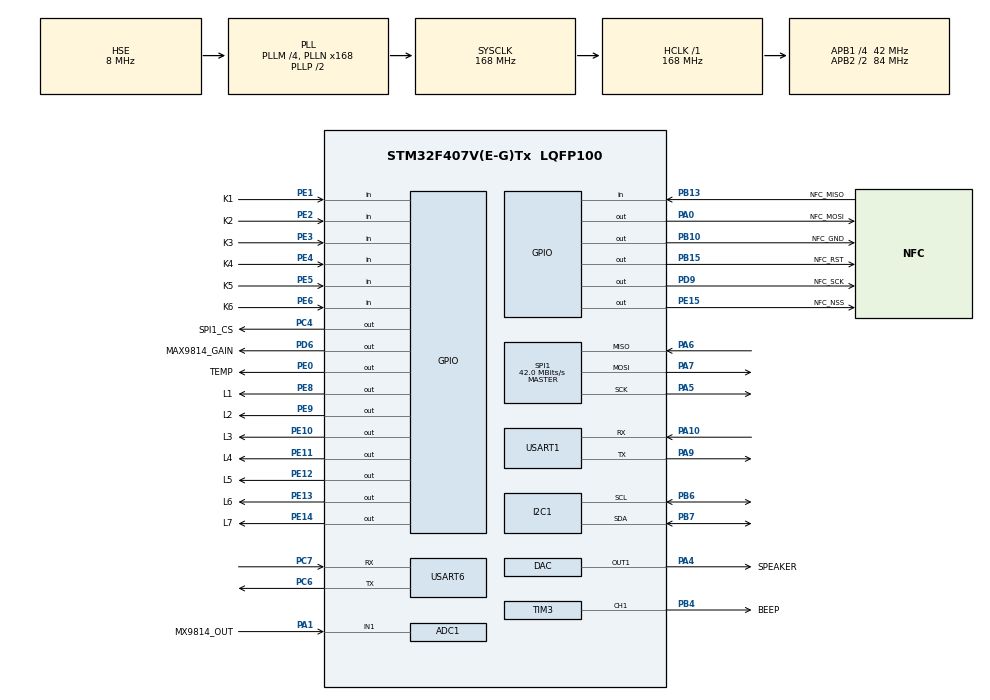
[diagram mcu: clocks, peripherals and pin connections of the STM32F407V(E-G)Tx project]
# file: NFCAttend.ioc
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ADC1.Channel-1\#ChannelRegularConversion=ADC_CHANNEL_1
ADC1.ContinuousConvMode=ENABLE
ADC1.DMAContinuousRequests=ENABLE
ADC1.ExternalTrigConv=ADC_EXTERNALTRIGCONV_T2_TRGO
ADC1.NbrOfConversion=1
ADC1.NbrOfConversionFlag=1
ADC1.Rank-1\#ChannelRegularConversion=1
ADC1.SamplingTime-1\#ChannelRegularConversion=ADC_SAMPLETIME_480CYCLES
ADC1.master=1
DAC.DAC_Trigger=DAC_TRIGGER_T2_TRGO
Dma.ADC1.0.Direction=DMA_PERIPH_TO_MEMORY
Dma.ADC1.0.FIFOMode=DMA_FIFOMODE_DISABLE
Dma.ADC1.0.Instance=DMA2_Stream0
Dma.ADC1.0.MemDataAlignment=DMA_MDATAALIGN_HALFWORD
Dma.ADC1.0.MemInc=DMA_MINC_ENABLE
Dma.ADC1.0.Mode=DMA_CIRCULAR
Dma.ADC1.0.PeriphDataAlignment=DMA_PDATAALIGN_HALFWORD
Dma.ADC1.0.PeriphInc=DMA_PINC_DISABLE
Dma.ADC1.0.Priority=DMA_PRIORITY_LOW
Dma.DAC1.1.Direction=DMA_MEMORY_TO_PERIPH
Dma.DAC1.1.FIFOMode=DMA_FIFOMODE_DISABLE
Dma.DAC1.1.Instance=DMA1_Stream5
Dma.DAC1.1.MemDataAlignment=DMA_MDATAALIGN_HALFWORD
Dma.DAC1.1.MemInc=DMA_MINC_ENABLE
Dma.DAC1.1.Mode=DMA_NORMAL
Dma.DAC1.1.PeriphDataAlignment=DMA_PDATAALIGN_HALFWORD
Dma.DAC1.1.PeriphInc=DMA_PINC_DISABLE
Dma.DAC1.1.Priority=DMA_PRIORITY_LOW
Dma.Request0=ADC1
Dma.Request1=DAC1
Dma.Request2=USART1_RX
Dma.Request3=USART1_TX
Dma.Request4=USART6_RX
Dma.Request5=USART6_TX
Dma.USART1_RX.2.Direction=DMA_PERIPH_TO_MEMORY
Dma.USART1_RX.2.FIFOMode=DMA_FIFOMODE_DISABLE
Dma.USART1_RX.2.Instance=DMA2_Stream2
Dma.USART1_RX.2.MemDataAlignment=DMA_MDATAALIGN_BYTE
Dma.USART1_RX.2.MemInc=DMA_MINC_ENABLE
Dma.USART1_RX.2.Mode=DMA_NORMAL
Dma.USART1_RX.2.PeriphDataAlignment=DMA_PDATAALIGN_BYTE
Dma.USART1_RX.2.PeriphInc=DMA_PINC_DISABLE
Dma.USART1_RX.2.Priority=DMA_PRIORITY_LOW
Dma.USART1_TX.3.Direction=DMA_MEMORY_TO_PERIPH
Dma.USART1_TX.3.FIFOMode=DMA_FIFOMODE_DISABLE
Dma.USART1_TX.3.Instance=DMA2_Stream7
Dma.USART1_TX.3.MemDataAlignment=DMA_MDATAALIGN_BYTE
Dma.USART1_TX.3.MemInc=DMA_MINC_ENABLE
Dma.USART1_TX.3.Mode=DMA_NORMAL
Dma.USART1_TX.3.PeriphDataAlignment=DMA_PDATAALIGN_BYTE
Dma.USART1_TX.3.PeriphInc=DMA_PINC_DISABLE
Dma.USART1_TX.3.Priority=DMA_PRIORITY_LOW
Dma.USART6_RX.4.Direction=DMA_PERIPH_TO_MEMORY
Dma.USART6_RX.4.FIFOMode=DMA_FIFOMODE_DISABLE
Dma.USART6_RX.4.Instance=DMA2_Stream1
Dma.USART6_RX.4.MemDataAlignment=DMA_MDATAALIGN_BYTE
Dma.USART6_RX.4.MemInc=DMA_MINC_ENABLE
Dma.USART6_RX.4.Mode=DMA_NORMAL
Dma.USART6_RX.4.PeriphDataAlignment=DMA_PDATAALIGN_BYTE
Dma.USART6_RX.4.PeriphInc=DMA_PINC_DISABLE
Dma.USART6_RX.4.Priority=DMA_PRIORITY_LOW
Dma.USART6_TX.5.Direction=DMA_MEMORY_TO_PERIPH
Dma.USART6_TX.5.FIFOMode=DMA_FIFOMODE_DISABLE
Dma.USART6_TX.5.Instance=DMA2_Stream6
Dma.USART6_TX.5.MemDataAlignment=DMA_MDATAALIGN_BYTE
Dma.USART6_TX.5.MemInc=DMA_MINC_ENABLE
Dma.USART6_TX.5.Mode=DMA_NORMAL
Dma.USART6_TX.5.PeriphDataAlignment=DMA_PDATAALIGN_BYTE
Dma.USART6_TX.5.PeriphInc=DMA_PINC_DISABLE
Dma.USART6_TX.5.Priority=DMA_PRIORITY_LOW
FREERTOS.Queues01=myQueue01,8,512,1,Dynamic,NULL,NULL;myQueue04,4,1024,1,Dynamic,NULL,NULL
FREERTOS.Queues02=myQueue05,8,64,1,Dynamic,NULL,NULL
FREERTOS.Tasks01=defaultTask,24,512,StartDefaultTask,Default,NULL,Dynamic,NULL,NULL;guiTask,16,1024,StartTaskGui,Default,NULL,Dynamic,NULL,NULL;keyTask,24,512,StartTaskKey,Default,NULL,Dynamic,NULL,NULL;uartTask,24,1536,StartTaskUart,Default,NULL,Dynamic,NULL,NULL;otherTask,16,768,StartTaskOther,Default,NULL,Dynamic,NULL,NULL;nfcTask,24,768,StartTaskNFC,Default,NULL,Dynamic,NULL,NULL
FREERTOS.configTOTAL_HEAP_SIZE=49152
I2C1.I2C_Mode=I2C_Fast
Mcu.Family=STM32F4
Mcu.Name=STM32F407V(E-G)Tx
Mcu.Package=LQFP100
NVIC.DMA1_Stream5_IRQn=true\:5\:0\:false\:false\:true\:true\:false\:true\:true
NVIC.DMA2_Stream0_IRQn=true\:5\:0\:false\:false\:true\:true\:false\:true\:true
NVIC.DMA2_Stream1_IRQn=true\:5\:0\:false\:false\:true\:true\:false\:true\:true
NVIC.DMA2_Stream2_IRQn=true\:5\:0\:false\:false\:true\:true\:false\:true\:true
NVIC.DMA2_Stream6_IRQn=true\:5\:0\:false\:false\:true\:true\:false\:true\:true
NVIC.DMA2_Stream7_IRQn=true\:5\:0\:false\:false\:true\:true\:false\:true\:true
NVIC.PriorityGroup=NVIC_PRIORITYGROUP_4
NVIC.TIM3_IRQn=true\:5\:0\:false\:false\:true\:true\:true\:true\:true
NVIC.TIM7_IRQn=true\:15\:0\:false\:false\:true\:false\:false\:true\:true
NVIC.TIM8_UP_TIM13_IRQn=true\:5\:0\:false\:false\:true\:true\:true\:true\:true
NVIC.TimeBase=TIM7_IRQn
NVIC.TimeBaseIP=TIM7
NVIC.USART1_IRQn=true\:5\:0\:false\:false\:true\:true\:true\:true\:true
NVIC.USART6_IRQn=true\:5\:0\:false\:false\:true\:true\:true\:true\:true
PA0-WKUP.GPIO_Label=NFC_MOSI
PA0-WKUP.Signal=GPIO_Output
PA1.GPIO_Label=MX9814_OUT
PA1.Signal=ADCx_IN1
PA10.Mode=Asynchronous
PA10.Signal=USART1_RX
PA13.Mode=Serial_Wire
PA13.Signal=SYS_JTMS-SWDIO
PA14.Mode=Serial_Wire
PA14.Signal=SYS_JTCK-SWCLK
PA4.GPIO_Label=SPEAKER
PA4.Signal=COMP_DAC1_group
PA5.Mode=Full_Duplex_Master
PA5.Signal=SPI1_SCK
PA6.Mode=Full_Duplex_Master
PA6.Signal=SPI1_MISO
PA7.Mode=Full_Duplex_Master
PA7.Signal=SPI1_MOSI
PA9.Mode=Asynchronous
PA9.Signal=USART1_TX
PB10.GPIO_Label=NFC_GND
PB10.Signal=GPIO_Output
PB13.GPIO_Label=NFC_MISO
PB13.Signal=GPIO_Input
PB15.GPIO_Label=NFC_RST
PB15.Signal=GPIO_Output
PB4.GPIO_Label=BEEP
PB4.Signal=S_TIM3_CH1
PB6.Mode=I2C
PB6.Signal=I2C1_SCL
PB7.Mode=I2C
PB7.Signal=I2C1_SDA
PC14-OSC32_IN.Mode=LSE-External-Oscillator
PC14-OSC32_IN.Signal=RCC_OSC32_IN
PC15-OSC32_OUT.Mode=LSE-External-Oscillator
PC15-OSC32_OUT.Signal=RCC_OSC32_OUT
PC4.GPIO_Label=SPI1_CS
PC4.Signal=GPIO_Output
PC6.Mode=Asynchronous
PC6.Signal=USART6_TX
PC7.Mode=Asynchronous
PC7.Signal=USART6_RX
PD6.GPIO_Label=MAX9814_GAIN
PD6.Signal=GPIO_Output
PD9.GPIO_Label=NFC_SCK
PD9.Signal=GPIO_Output
PE0.GPIO_Label=TEMP
PE0.Signal=GPIO_Output
PE1.GPIO_Label=K1
PE1.GPIO_Mode=GPIO_MODE_INPUT
PE1.GPIO_PuPd=GPIO_PULLUP
PE1.Signal=GPIO_Input
PE10.GPIO_Label=L3
PE10.PinState=GPIO_PIN_SET
PE10.Signal=GPIO_Output
PE11.GPIO_Label=L4
PE11.PinState=GPIO_PIN_SET
PE11.Signal=GPIO_Output
PE12.GPIO_Label=L5
PE12.PinState=GPIO_PIN_SET
PE12.Signal=GPIO_Output
PE13.GPIO_Label=L6
PE13.PinState=GPIO_PIN_SET
PE13.Signal=GPIO_Output
PE14.GPIO_Label=L7
PE14.PinState=GPIO_PIN_SET
PE14.Signal=GPIO_Output
PE15.GPIO_Label=NFC_NSS
PE15.Signal=GPIO_Output
PE2.GPIO_Label=K2
PE2.GPIO_Mode=GPIO_MODE_INPUT
PE2.GPIO_PuPd=GPIO_PULLUP
PE2.Signal=GPIO_Input
PE3.GPIO_Label=K3
PE3.GPIO_Mode=GPIO_MODE_INPUT
PE3.GPIO_PuPd=GPIO_PULLUP
PE3.Signal=GPIO_Input
PE4.GPIO_Label=K4
PE4.GPIO_Mode=GPIO_MODE_INPUT
PE4.GPIO_PuPd=GPIO_PULLUP
PE4.Signal=GPIO_Input
PE5.GPIO_Label=K5
PE5.GPIO_Mode=GPIO_MODE_INPUT
PE5.GPIO_PuPd=GPIO_PULLDOWN
PE5.Signal=GPIO_Input
PE6.GPIO_Label=K6
PE6.GPIO_Mode=GPIO_MODE_INPUT
PE6.GPIO_PuPd=GPIO_PULLDOWN
PE6.Signal=GPIO_Input
PE8.GPIO_Label=L1
PE8.PinState=GPIO_PIN_SET
PE8.Signal=GPIO_Output
PE9.GPIO_Label=L2
PE9.PinState=GPIO_PIN_SET
PE9.Signal=GPIO_Output
PH0-OSC_IN.Mode=HSE-External-Oscillator
PH0-OSC_IN.Signal=RCC_OSC_IN
PH1-OSC_OUT.Mode=HSE-External-Oscillator
PH1-OSC_OUT.Signal=RCC_OSC_OUT
ProjectManager.HeapSize=0x200
ProjectManager.StackSize=0x400
ProjectManager.TargetToolchain=Makefile
RCC.48MHZClocksFreq_Value=48000000
RCC.AHBFreq_Value=168000000
RCC.APB1CLKDivider=RCC_HCLK_DIV4
RCC.APB1Freq_Value=42000000
RCC.APB1TimFreq_Value=84000000
RCC.APB2CLKDivider=RCC_HCLK_DIV2
RCC.APB2Freq_Value=84000000
RCC.APB2TimFreq_Value=168000000
RCC.CortexFreq_Value=168000000
RCC.HCLKFreq_Value=168000000
RCC.HSE_VALUE=8000000
RCC.HSI_VALUE=16000000
RCC.PLLM=4
RCC.PLLN=168
RCC.PLLQ=7
RCC.PLLSourceVirtual=RCC_PLLSOURCE_HSE
RCC.RCC_RTC_Clock_Source=RCC_RTCCLKSOURCE_LSE
RCC.RCC_RTC_Clock_SourceVirtual=RCC_RTCCLKSOURCE_LSE
RCC.SYSCLKFreq_VALUE=168000000
RCC.SYSCLKSource=RCC_SYSCLKSOURCE_PLLCLK
RCC.VCOOutputFreq_Value=336000000
RTC.Alarm=RTC_ALARM_A
SH.ADCx_IN1.0=ADC1_IN1,IN1
SH.COMP_DAC1_group.0=DAC_OUT1,DAC_OUT1
SH.S_TIM3_CH1.0=TIM3_CH1,PWM Generation1 CH1
SPI1.CalculateBaudRate=42.0 MBits/s
SPI1.Direction=SPI_DIRECTION_2LINES
SPI1.Mode=SPI_MODE_MASTER
SPI1.VirtualType=VM_MASTER
TIM2.AutoReloadPreload=TIM_AUTORELOAD_PRELOAD_ENABLE
TIM2.Period=125-1
TIM2.Prescaler=84-1
TIM2.TIM_MasterOutputTrigger=TIM_TRGO_UPDATE
TIM3.AutoReloadPreload=TIM_AUTORELOAD_PRELOAD_ENABLE
TIM3.Channel-PWM\ Generation1\ CH1=TIM_CHANNEL_1
TIM3.Period=1000-1
TIM3.Prescaler=84-1
TIM3.Pulse-PWM\ Generation1\ CH1=500
TIM8.AutoReloadPreload=TIM_AUTORELOAD_PRELOAD_ENABLE
TIM8.Period=100-1
TIM8.Prescaler=168-1
USART1.VirtualMode=VM_ASYNC
USART6.VirtualMode=VM_ASYNC
VP_FREERTOS_VS_CMSIS_V2.Mode=CMSIS_V2
VP_RTC_VS_RTC_Activate.Mode=RTC_Enabled
VP_RTC_VS_RTC_Alarm_A_Intern.Mode=Alarm A
VP_RTC_VS_RTC_Calendar.Mode=RTC_Calendar
VP_SYS_VS_tim7.Mode=TIM7
VP_TIM2_VS_ClockSourceINT.Mode=Internal
VP_TIM3_VS_ClockSourceINT.Mode=Internal
VP_TIM8_VS_ClockSourceINT.Mode=Internal
board=custom

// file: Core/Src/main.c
/* USER CODE BEGIN Header */
/**
  ******************************************************************************
  * @file           : main.c
  * @brief          : Main program body
  ******************************************************************************
  * @attention
  *
  * Copyright (c) 2026 STMicroelectronics.
  * All rights reserved.
  *
  * This software is licensed under terms that can be found in the LICENSE file
  * in the root directory of this software component.
  * If no LICENSE file comes with this software, it is provided AS-IS.
  *
  ******************************************************************************
  */
/* USER CODE END Header */
#include "main.h"
#include "cmsis_os.h"
#include "adc.h"
#include "dac.h"
#include "dma.h"
#include "i2c.h"
#include "rtc.h"
#include "spi.h"
#include "tim.h"
#include "usart.h"
#include "gpio.h"

/* USER CODE BEGIN Includes */
#include "midi.h"
/* USER CODE END Includes */

void SystemClock_Config(void);
void MX_FREERTOS_Init(void);

int main(void)
{

  /* MCU Configuration--------------------------------------------------------*/

  /* Reset of all peripherals, Initializes the Flash interface and the Systick. */
  HAL_Init();

  /* Configure the system clock */
  SystemClock_Config();

  /* Initialize all configured peripherals */
  MX_GPIO_Init();
  MX_DMA_Init();
  MX_ADC1_Init();
  MX_DAC_Init();
  MX_I2C1_Init();
  MX_RTC_Init();
  MX_SPI1_Init();
  MX_TIM2_Init();
  MX_TIM3_Init();
  MX_USART6_UART_Init();
  MX_USART1_UART_Init();
  MX_TIM8_Init();

  /* Init scheduler */
  osKernelInitialize();  /* Call init function for freertos objects (in cmsis_os2.c) */
  MX_FREERTOS_Init();

  /* Start scheduler */
  osKernelStart();

  /* We should never get here as control is now taken by the scheduler */

  /* Infinite loop */
  while (1)
  {

  }
}

void SystemClock_Config(void)
{
  RCC_OscInitTypeDef RCC_OscInitStruct = {0};
  RCC_ClkInitTypeDef RCC_ClkInitStruct = {0};

  /** Configure the main internal regulator output voltage
  */
  __HAL_RCC_PWR_CLK_ENABLE();
  __HAL_PWR_VOLTAGESCALING_CONFIG(PWR_REGULATOR_VOLTAGE_SCALE1);

  /** Initializes the RCC Oscillators according to the specified parameters
  * in the RCC_OscInitTypeDef structure.
  */
  RCC_OscInitStruct.OscillatorType = RCC_OSCILLATORTYPE_HSE|RCC_OSCILLATORTYPE_LSE;
  RCC_OscInitStruct.HSEState = RCC_HSE_ON;
  RCC_OscInitStruct.LSEState = RCC_LSE_ON;
  RCC_OscInitStruct.PLL.PLLState = RCC_PLL_ON;
  RCC_OscInitStruct.PLL.PLLSource = RCC_PLLSOURCE_HSE;
  RCC_OscInitStruct.PLL.PLLM = 4;
  RCC_OscInitStruct.PLL.PLLN = 168;
  RCC_OscInitStruct.PLL.PLLP = RCC_PLLP_DIV2;
  RCC_OscInitStruct.PLL.PLLQ = 7;
  if (HAL_RCC_OscConfig(&RCC_OscInitStruct) != HAL_OK)
  {
    Error_Handler();
  }

  /** Initializes the CPU, AHB and APB buses clocks
  */
  RCC_ClkInitStruct.ClockType = RCC_CLOCKTYPE_HCLK|RCC_CLOCKTYPE_SYSCLK
                              |RCC_CLOCKTYPE_PCLK1|RCC_CLOCKTYPE_PCLK2;
  RCC_ClkInitStruct.SYSCLKSource = RCC_SYSCLKSOURCE_PLLCLK;
  RCC_ClkInitStruct.AHBCLKDivider = RCC_SYSCLK_DIV1;
  RCC_ClkInitStruct.APB1CLKDivider = RCC_HCLK_DIV4;
  RCC_ClkInitStruct.APB2CLKDivider = RCC_HCLK_DIV2;

  if (HAL_RCC_ClockConfig(&RCC_ClkInitStruct, FLASH_LATENCY_5) != HAL_OK)
  {
    Error_Handler();
  }
}

void HAL_TIM_PeriodElapsedCallback(TIM_HandleTypeDef *htim)
{
  if (htim->Instance == TIM7)
  {
    HAL_IncTick();
  }
  /* USER CODE BEGIN Callback 1 */
  MIDI_TimerCallback(htim);  /* MIDI ������: �������� */
  /* USER CODE END Callback 1 */
}

void Error_Handler(void)
{
  __disable_irq();
  while (1)
  {
  }
}

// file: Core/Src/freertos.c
/* USER CODE BEGIN Header */
/**
  ******************************************************************************
  * File Name          : freertos.c
  * Description        : Code for freertos applications
  ******************************************************************************
  * @attention
  *
  * Copyright (c) 2026 STMicroelectronics.
  * All rights reserved.
  *
  * This software is licensed under terms that can be found in the LICENSE file
  * in the root directory of this software component.
  * If no LICENSE file comes with this software, it is provided AS-IS.
  *
  ******************************************************************************
  */
/* USER CODE END Header */

#include "FreeRTOS.h"
#include "task.h"
#include "main.h"
#include "cmsis_os.h"

/* USER CODE BEGIN Includes */
#include "usart.h"
#include "uart_drv.h"
#include "ds18B20.h"
#include "led.h"
#include "key.h"
#include "ssd1306.h"
#include "midi.h"
#include "esp01s.h"
#include "w25qxx.h"
#include "rc522.h"
#include "delay_us.h"
#include "bsp_rtc.h"
#include "display.h"
#include "tim.h"
#include "NFC.h"
#include "esp01s.h"
#include "rtc.h"
#include <stdio.h>
#include <string.h>

/* 锟斤拷知锟斤拷锟斤拷 API Key (锟斤拷锟阶?锟斤拷: https://www.seniverse.com) */
#define WEATHER_API_KEY  "SX5O_Nv09Ap1egenj"
#define WEATHER_CITY     "hangzhou"
#define WEATHER_LANG     "zh-Hans"
#define WEATHER_UNIT     "c"
/* USER CODE END Includes */

/* USER CODE BEGIN PD */
#define HEARTBEAT_INTERVAL_MS      5000U    /* 锟斤拷锟斤拷锟斤拷锟酵硷拷锟? (ms) */
#define WEATHER_UPDATE_INTERVAL_MS 3600000U /* 锟斤拷锟斤拷刷锟铰硷拷锟? (ms, 1h) */
/* USER CODE END PD */

/* USER CODE BEGIN Variables */
UartDrv_t g_uart1Drv;
UartDrv_t g_uart6Drv;

/* LED 锟斤拷锟斤拷: L1~L7 (PE8~PE14), 锟斤拷锟斤拷锟斤拷, 锟酵碉拷平锟斤拷锟斤拷 */
static const Led_Config_t s_ledConfigs[] = {
    {GPIOE, L1_Pin, LED_ON_LOW},
    {GPIOE, L2_Pin, LED_ON_LOW},
    {GPIOE, L3_Pin, LED_ON_LOW},
    {GPIOE, L4_Pin, LED_ON_LOW},
    {GPIOE, L5_Pin, LED_ON_LOW},
    {GPIOE, L6_Pin, LED_ON_LOW},
    {GPIOE, L7_Pin, LED_ON_LOW},
};

/* 锟斤拷锟斤拷锟斤拷锟斤拷: K1~K4 锟斤拷锟斤拷锟斤拷锟斤拷(锟酵碉拷平锟斤拷效), K5~K6 锟斤拷锟斤拷锟斤拷锟斤拷(锟竭碉拷平锟斤拷效) */
static const Key_Config_t s_keyConfigs[] = {
    {GPIOE, K1_Pin, KEY_ACTIVE_LOW},
    {GPIOE, K2_Pin, KEY_ACTIVE_LOW},
    {GPIOE, K3_Pin, KEY_ACTIVE_LOW},
    {GPIOE, K4_Pin, KEY_ACTIVE_LOW},
    {GPIOE, K5_Pin, KEY_ACTIVE_HIGH},
    {GPIOE, K6_Pin, KEY_ACTIVE_HIGH},
};

/* USART1 锟斤拷锟斤拷双锟斤拷锟斤拷 (锟截碉拷写锟斤拷 锟斤拷 uartTask 锟斤拷锟斤拷, 锟劫斤拷锟斤拷锟斤拷锟斤拷) */
static uint8_t  s_uart1_rx_buf[512];
static uint8_t  s_uart1_proc_buf[512];
static volatile uint16_t s_uart1_rx_len = 0;
static volatile uint8_t  s_uart1_data_ready = 0;

/* USART1 锟斤拷锟秸回碉拷锟斤拷锟斤拷 */
static void UART1_RxCallback(UartDrv_RxData_t *pData, void *pUserCtx);
/* USER CODE END Variables */
/* Definitions for defaultTask */
osThreadId_t defaultTaskHandle;
const osThreadAttr_t defaultTask_attributes = {
  .name = "defaultTask",
  .stack_size = 512 * 4,
  .priority = (osPriority_t) osPriorityNormal,
};
/* Definitions for guiTask */
osThreadId_t guiTaskHandle;
const osThreadAttr_t guiTask_attributes = {
  .name = "guiTask",
  .stack_size = 1024 * 4,
  .priority = (osPriority_t) osPriorityBelowNormal,
};
/* Definitions for keyTask */
osThreadId_t keyTaskHandle;
const osThreadAttr_t keyTask_attributes = {
  .name = "keyTask",
  .stack_size = 512 * 4,
  .priority = (osPriority_t) osPriorityNormal,
};
/* Definitions for uartTask */
osThreadId_t uartTaskHandle;
const osThreadAttr_t uartTask_attributes = {
  .name = "uartTask",
  .stack_size = 1536 * 4,
  .priority = (osPriority_t) osPriorityNormal,
};
/* Definitions for otherTask */
osThreadId_t otherTaskHandle;
const osThreadAttr_t otherTask_attributes = {
  .name = "otherTask",
  .stack_size = 768 * 4,
  .priority = (osPriority_t) osPriorityBelowNormal,
};
/* Definitions for nfcTask */
osThreadId_t nfcTaskHandle;
const osThreadAttr_t nfcTask_attributes = {
  .name = "nfcTask",
  .stack_size = 768 * 4,
  .priority = (osPriority_t) osPriorityNormal,
};
/* Definitions for myQueue01 */
osMessageQueueId_t myQueue01Handle;
const osMessageQueueAttr_t myQueue01_attributes = {
  .name = "myQueue01"
};
/* Definitions for myQueue04 */
osMessageQueueId_t myQueue04Handle;
const osMessageQueueAttr_t myQueue04_attributes = {
  .name = "myQueue04"
};

void StartDefaultTask(void *argument);
void StartTaskGui(void *argument);
void StartTaskKey(void *argument);
void StartTaskUart(void *argument);
void StartTaskOther(void *argument);
void StartTaskNFC(void *argument);

void MX_FREERTOS_Init(void); /* (MISRA C 2004 rule 8.1) */

void MX_FREERTOS_Init(void) {

  /* Create the queue(s) */
  /* creation of myQueue01 */
  myQueue01Handle = osMessageQueueNew (8, DISP_WEATHER_LINE_LEN, &myQueue01_attributes);

  /* creation of myQueue04 */
  myQueue04Handle = osMessageQueueNew (4, 1024, &myQueue04_attributes);

  /* Create the thread(s) */
  /* creation of defaultTask */
  defaultTaskHandle = osThreadNew(StartDefaultTask, NULL, &defaultTask_attributes);

  /* creation of guiTask */
  guiTaskHandle = osThreadNew(StartTaskGui, NULL, &guiTask_attributes);

  /* creation of keyTask */
  keyTaskHandle = osThreadNew(StartTaskKey, NULL, &keyTask_attributes);

  /* creation of uartTask */
  uartTaskHandle = osThreadNew(StartTaskUart, NULL, &uartTask_attributes);

  /* creation of otherTask */
  otherTaskHandle = osThreadNew(StartTaskOther, NULL, &otherTask_attributes);

  /* creation of nfcTask */
  nfcTaskHandle = osThreadNew(StartTaskNFC, NULL, &nfcTask_attributes);

}

void StartDefaultTask(void *argument)
{
  /* USER CODE BEGIN StartDefaultTask */

  /* Apply I2C clock config to match DISP_I2C_TARGET_HZ */
  DISP_ApplyI2CConfig();

  /* --- BSP 锟斤拷锟斤拷锟斤拷始锟斤拷 --- */

  /* 1. OLED + GUI 锟斤拷锟饺筹拷始锟斤拷, 锟皆憋拷锟斤拷示锟斤拷始锟斤拷锟斤拷锟斤拷 */
  GUI_Init();
  GUI_Clear();
  GUI_Update();

  /* 2. DS18B20 锟铰度达拷锟斤拷锟斤拷 (锟节诧拷锟斤拷锟斤拷 delay_us_init) */
  DISP_ShowInitMsg("Init DS18B20...");
  ds18b20_init();

  /* 3. 锟斤拷锟斤拷锟斤拷锟斤拷 (USART1 锟斤拷 锟斤拷锟斤拷锟斤拷锟?, USART6 锟斤拷 ESP01S) */
  UartDrv_Init(&g_uart1Drv, &huart1);
  UartDrv_SetDebugPort(&g_uart1Drv);
  UartDrv_RegisterRxCb(&g_uart1Drv, UART1_RxCallback, NULL);
  UartDrv_StartRecv(&g_uart1Drv);
  UartDrv_Init(&g_uart6Drv, &huart6);
  UartDrv_StartRecv(&g_uart6Drv);

  /* 4. LED 锟斤拷锟斤拷 (L1~L7) */
  LED_Init(s_ledConfigs, GUI_COUNTOF(s_ledConfigs));

  /* 5. 锟斤拷锟斤拷锟斤拷锟斤拷 (K1~K6) */
  Key_Init(s_keyConfigs, GUI_COUNTOF(s_keyConfigs));

  DISP_ShowInitMsg("Init MIDI...");
  /* 6. MIDI 锟斤拷锟斤拷锟斤拷 (TIM3 CH1 锟斤拷 PB4) */
  MIDI_Init(&htim3, TIM_CHANNEL_1);

  DISP_ShowInitMsg("Init Flash...");
  /* 7. W25Qxx SPI Flash (SPI1) */
  W25QXX_Init();
  /* 锟斤拷锟斤拷系统锟斤拷锟斤拷 + 锟斤拷始锟斤拷锟斤拷录锟斤拷 + 锟斤拷锟斤拷锟斤拷 */
  Config_Load();
  Record_Init();
  Blacklist_Init();

  DISP_ShowInitMsg("Init NFC...");
  /* 8. RC522 NFC (GPIO 模锟斤拷 SPI, 锟节诧拷锟斤拷锟斤拷 delay_us_init 锟捷等帮拷全) */
  RC522_Platform_Init();
  RC522_ConfigISOType('A');  /* 锟斤拷锟斤拷 ISO14443A 锟斤拷锟斤拷锟斤拷锟斤拷锟斤拷 */

  DISP_ShowInitMsg("Init WiFi...");
  /* 9. ESP01S WiFi 模锟斤拷 (锟节诧拷锟皆讹拷注锟斤拷 UartDrv 锟截碉拷) */
  ESP01S_Init(&g_uart6Drv);

  DISP_ShowInitMsg("Init RTC...");
  /* 10. RTC 锟阶达拷锟较碉拷锟绞硷拷锟斤拷锟? MX_RTC_Init() 通锟斤拷锟斤拷锟捷寄达拷锟斤拷锟叫讹拷锟斤拷锟? */

  DISP_ShowInitMsg("Init Done");
  osDelay(300);

  /* --- LOGO 2s --- */
  DISP_ShowLogo();

  /* --- 锟斤拷息页 2s --- */
  DISP_ShowInfoPage();

  /* 通知 guiTask 锟斤拷 networkTask 锟斤拷锟斤拷锟斤拷锟? */
  osThreadFlagsSet(guiTaskHandle, 0x01);
  osThreadFlagsSet(otherTaskHandle, 0x01);

  /* Infinite loop */
  for(;;)
  {
    DISP_UpdateTempCache();   /* 锟届步锟斤拷锟斤拷锟铰度伙拷锟斤拷, guiTask 锟斤拷锟斤拷锟斤拷锟斤拷锟斤拷 OneWire */

    /* OLED 锟斤拷锟斤拷锟斤拷锟斤拷锟? (锟斤拷锟斤拷锟斤拷 guiTask, 确锟斤拷锟斤拷锟斤拷锟斤拷锟斤拷时也锟杰恢革拷) */
    if (DISP_CheckStuck()) {
      DISP_ResetOLED();
    }

    /* 锟斤拷锟斤拷锟斤拷锟斤拷: 每 5s 锟斤拷锟斤拷位锟斤拷锟较憋拷锟借备状态 */
    {
      static uint32_t s_lastHeartbeat = 0;
      uint32_t now = osKernelGetTickCount();
      if (now - s_lastHeartbeat >= HEARTBEAT_INTERVAL_MS) {
        s_lastHeartbeat = now;
        char hb[128];
        snprintf(hb, sizeof(hb),
                 "HEART:DEV=%u|MODE=%u|TEMP=%.1f|WIFI=%u|PEND=%lu\r\n",
                 Config_GetDeviceId(),
                 Config_GetAttendMode(),
                 (double)DISP_GetCachedTemp(),
                 ESP01S_IsWiFiConnected() ? 1U : 0U,
                 (unsigned long)Record_GetUnuploadCount());
        UartDrv_SendStr(&g_uart1Drv, hb);
      }
    }

    osDelay(1000);
  }
  /* USER CODE END StartDefaultTask */
}

void StartTaskGui(void *argument)
{
  /* USER CODE BEGIN StartTaskGui */
  const DispCardInfo_t *pCard;
  uint32_t stateEnterTick = 0;
  uint32_t now;
  int i;

  DISP_Init();

  /* 锟饺达拷 defaultTask 锟斤拷锟斤拷锟斤拷锟斤拷锟斤拷锟? */
  osThreadFlagsWait(0x01, osFlagsWaitAll, osWaitForever);
  DISP_SetState(DISP_STATE_CLOCK);

  /* Infinite loop */
  for (;;)
  {
    DISP_FeedWatchdog();  /* 每锟斤拷循锟斤拷喂锟斤拷, defaultTask 锟斤拷锟斤拷锟解卡锟斤拷锟斤拷锟斤拷位 */
    DispState_t state = DISP_GetState();
    now = osKernelGetTickCount();

    switch (state) {

    /* ===== 时锟接达拷锟斤拷 ===== */
    case DISP_STATE_CLOCK:
      {
        /* 锟斤拷锟斤拷锟斤拷锟斤拷锟斤拷锟斤拷锟斤拷锟斤拷锟斤拷 (锟斤拷锟斤拷 networkTask 锟侥讹拷锟斤拷锟斤拷息) */
        char weatherMsg[DISP_WEATHER_LINE_LEN];
        if (osMessageQueueGet(myQueue01Handle, weatherMsg, NULL, 0) == osOK) {
          DISP_SetWeatherCache(weatherMsg);
        }
      }
      DISP_ShowClock();
      {
        uint32_t nfcEvt = DISP_CheckNfcEvent(myQueue04Handle);   /* poll NFC queue */
        if (nfcEvt != DISP_EVT_NONE) {
          pCard = DISP_GetCardInfo();
          if (pCard->event == DISP_EVT_CARD_ADMIN) {
            DISP_SetState(DISP_STATE_ADMIN_SET);
          } else {
            DISP_SetState(DISP_STATE_RESULT);
          }
          stateEnterTick = osKernelGetTickCount();
        } else {
          osDelay(DISP_FRAME_INTERVAL_MS);   /* keep frame pacing */
        }
      }

      /* K5 锟斤拷锟斤拷: 锟斤拷锟斤拷时锟斤拷锟斤拷锟斤拷 */
      if (Key_IsLongPressed(4)) {
        DISP_SetState(DISP_STATE_TIME_SET);
        stateEnterTick = osKernelGetTickCount();
      }
      break;

    /* ===== 刷锟斤拷锟斤拷锟? ===== */
    case DISP_STATE_RESULT:
      pCard = DISP_GetCardInfo();
      {
        int countdown = 0;
        if (pCard->event == DISP_EVT_CARD_DUP) {
          int elapsed = (int)(now - stateEnterTick);
          countdown = (elapsed < 2000) ? (2 - elapsed / 1000) : 0;
        }
        DISP_ShowCardResult(pCard, countdown);
      }

      /* 锟饺帮拷锟斤拷锟酵筹拷时 */
      osThreadFlagsWait(DISP_EVT_KEY_PRESSED, osFlagsWaitAny, DISP_FRAME_INTERVAL_MS);

      /* 锟斤拷锟解按锟斤拷 锟斤拷 锟斤拷锟斤拷时锟斤拷 */
      if (Key_AnyPressed()) {
        Key_ClearAllEvents();
        DISP_SetState(DISP_STATE_CLOCK);
        break;
      }

      /* 锟斤拷时 锟斤拷 锟斤拷锟斤拷时锟斤拷 (锟截革拷刷锟斤拷 2s, 锟斤拷锟斤拷 3s) */
      {
        int timeoutMs = (pCard->event == DISP_EVT_CARD_DUP) ? 2000 : 3000;
        if (now - stateEnterTick >= (uint32_t)timeoutMs) {
          DISP_SetState(DISP_STATE_CLOCK);
        }
      }
      break;

    /* ===== 时锟斤拷锟斤拷锟斤拷 ===== */
    case DISP_STATE_TIME_SET:
      DISP_ShowTimeSet();

      /* 锟斤拷锟斤拷锟斤拷 */
      for (i = 0; i < 6; i++) {
        if (Key_IsShortPressed(i))
          DISP_TimeSetKey(i, 1, 0);
        if (Key_IsLongPressed(i))
          DISP_TimeSetKey(i, 0, 1);
      }

      /* 锟斤拷一帧锟斤拷锟斤拷欠锟斤拷锟斤拷顺锟? */
      osThreadFlagsWait(DISP_EVT_KEY_PRESSED, osFlagsWaitAny, DISP_FRAME_INTERVAL_MS);
      osThreadFlagsClear(DISP_EVT_KEY_PRESSED);

      /* 60 锟诫超时锟皆讹拷锟剿筹拷 */
      if (now - stateEnterTick >= 60000) {
        DISP_SetState(DISP_STATE_CLOCK);
      }
      break;

    /* ===== 锟斤拷锟斤拷员锟斤拷锟斤拷 ===== */
    case DISP_STATE_ADMIN_SET:
      DISP_ShowAdminSet();

      /* 锟斤拷锟斤拷锟斤拷 */
      for (i = 0; i < 6; i++) {
        if (Key_IsShortPressed(i))
          DISP_AdminSetKey(i, 1, 0);
        if (Key_IsLongPressed(i))
          DISP_AdminSetKey(i, 0, 1);
      }

      /* 锟斤拷一帧锟斤拷锟斤拷欠锟斤拷锟斤拷顺锟? */
      osThreadFlagsWait(DISP_EVT_KEY_PRESSED, osFlagsWaitAny, DISP_FRAME_INTERVAL_MS);
      osThreadFlagsClear(DISP_EVT_KEY_PRESSED);

      /* 120 锟诫超时锟皆讹拷锟剿筹拷 */
      if (now - stateEnterTick >= 120000) {
        DISP_SetState(DISP_STATE_CLOCK);
      }
      break;
    }
  }
  /* USER CODE END StartTaskGui */
}

void StartTaskKey(void *argument)
{
  /* USER CODE BEGIN StartTaskKey */
  /* Infinite loop */
  for(;;)
  {
    Key_Scan();         /* 锟斤拷锟斤拷扫锟斤拷, 锟斤拷每 10ms 锟斤拷锟斤拷一锟斤拷 */
    osDelay(10);
  }
  /* USER CODE END StartTaskKey */
}

void StartTaskUart(void *argument)
{
  /* USER CODE BEGIN StartTaskUart */
  char  lineBuf[256];
  int   lineLen = 0;
  char  respBuf[256];

  /* Infinite loop */
  for(;;)
  {
    /* 锟斤拷锟? USART1 锟角凤拷锟斤拷锟斤拷锟斤拷锟斤拷 (双锟斤拷锟斤拷: 锟截碉拷写锟斤拷 锟斤拷 锟劫斤拷锟斤拷锟斤拷锟斤拷 锟斤拷 锟斤拷锟斤拷) */
    if (s_uart1_data_ready) {
      uint16_t len;
      taskENTER_CRITICAL();
      len = s_uart1_rx_len;
      memcpy(s_uart1_proc_buf, s_uart1_rx_buf, len);
      s_uart1_rx_len = 0;
      s_uart1_data_ready = 0;
      taskEXIT_CRITICAL();

      /* 锟斤拷锟斤拷锟斤拷锟斤拷追锟接碉拷锟叫伙拷锟斤拷 (锟斤拷时锟截碉拷锟斤拷同时写锟斤拷 s_uart1_rx_buf) */
      for (uint16_t i = 0; i < len && lineLen < (int)sizeof(lineBuf) - 1; i++) {
        char ch = (char)s_uart1_proc_buf[i];
        lineBuf[lineLen++] = ch;
        /* 锟斤拷锟斤拷锟斤拷锟斤拷 锟斤拷 执锟斤拷锟斤拷锟斤拷 */
        if (ch == '\n' || lineLen >= (int)sizeof(lineBuf) - 1) {
          lineBuf[lineLen] = '\0';
          /* 时锟斤拷同锟斤拷锟节硷拷芫锟斤拷锟斤拷锟斤拷锟斤拷锟? */
          if (DISP_IsTimeSyncBusy()) {
            snprintf(respBuf, sizeof(respBuf), "ERR:SYNC\r\n");
          } else {
            NFC_ProcessCommand(lineBuf, respBuf, sizeof(respBuf));
          }
          UartDrv_SendStr(&g_uart1Drv, respBuf);
          NFC_FlushCmdNotify();  /* 锟饺凤拷锟斤拷应锟斤拷通知 nfcTask, 锟斤拷证锟斤拷锟斤拷锟斤拷锟斤拷锟斤拷锟? */
          lineLen = 0;
        }
      }
    }
    osDelay(1);
  }
  /* USER CODE END StartTaskUart */
}

/* 天气查询辅助函数: 调用心知天气 API 并更新显示缓存 */
static void UpdateWeather(void)
{
    char city[32]    = {0};
    char day[32]     = {0};
    char high[8]     = {0};
    char night[32]   = {0};
    char low[8]      = {0};
    char precip[8]   = {0};
    char weatherLine[DISP_WEATHER_LINE_LEN] = {0};

    if (ESP01S_QueryWeather(WEATHER_API_KEY, WEATHER_CITY,
                            WEATHER_LANG, WEATHER_UNIT,
                            city, sizeof(city),
                            day, sizeof(day),
                            high, sizeof(high),
                            night, sizeof(night),
                            low, sizeof(low),
                            precip, sizeof(precip)) == 0) {
        snprintf(weatherLine, sizeof(weatherLine),
                 "%s %s %s~%s\xe2\x84\x83",
                 city, day, low, high);
        osMessageQueuePut(myQueue01Handle, weatherLine, 0, 0);
    }
}

void StartTaskOther(void *argument)
{
  /* USER CODE BEGIN StartTaskOther */

  /* 等待 defaultTask 完成硬件初始化 */
  osThreadFlagsWait(0x01, osFlagsWaitAll, osWaitForever);

  /* ===== 首次 WiFi 联网 + NTP 授时 + 天气 ===== */
  {
    int espRet = ESP01S_Start();

    if (espRet == 0 || espRet == -3) {
      if (ESP01S_IsNtpSynced()) {
        BSP_RTC_DateTime_t rtcBefore;
        BSP_RTC_GetDateTime(&rtcBefore);
        uint32_t beforeSecs = DISP_DateTimeToSeconds(&rtcBefore);

        ESP01S_SetRtcFromNtp(&hrtc);

        BSP_RTC_DateTime_t rtcAfter;
        BSP_RTC_GetDateTime(&rtcAfter);
        uint32_t afterSecs = DISP_DateTimeToSeconds(&rtcAfter);
        int32_t delta = (int32_t)(afterSecs - beforeSecs);

        DISP_EnterTimeSync();
        DISP_ShowInitMsg("Time Sync...");
        Record_FixAllTimeOffsets(delta);
        DISP_ExitTimeSync();

        DISP_SetTimeOffset(0);
      }
    }
  }

  /* ===== 首次天气查询 ===== */
  {
    UpdateWeather();
  }

  /* ===== 主循环: 断网重连 + 定时天气刷新 ===== */
  for(;;)
  {
    static uint32_t s_lastWeatherUpdate = 0;
    static uint32_t s_lastReconnectTry  = 0;
    uint32_t nowTick = osKernelGetTickCount();

    /* --- 断网自动重连 (每 120s) --- */
    if (!ESP01S_IsWiFiConnected() && (nowTick - s_lastReconnectTry >= 120000U)) {
      s_lastReconnectTry = nowTick;
      printf("[ESP01S] WiFi lost, retry...\r\n");

      int espRet = ESP01S_Start();
      if ((espRet == 0 || espRet == -3) && ESP01S_IsNtpSynced()) {
        BSP_RTC_DateTime_t rtcBefore, rtcAfter;
        BSP_RTC_GetDateTime(&rtcBefore);
        uint32_t beforeSecs = DISP_DateTimeToSeconds(&rtcBefore);
        ESP01S_SetRtcFromNtp(&hrtc);
        BSP_RTC_GetDateTime(&rtcAfter);
        uint32_t afterSecs = DISP_DateTimeToSeconds(&rtcAfter);
        DISP_SetTimeOffset((int32_t)(beforeSecs - afterSecs));
      }
    }

    /* --- 每 1h 刷新天气 --- */
    if (ESP01S_IsWiFiConnected() && (nowTick - s_lastWeatherUpdate >= WEATHER_UPDATE_INTERVAL_MS)) {
      s_lastWeatherUpdate = nowTick;
      UpdateWeather();
    }

    osDelay(1000);
  }
  /* USER CODE END StartTaskOther */
}

void StartTaskNFC(void *argument)
{
  /* USER CODE BEGIN StartTaskNFC */
  uint8_t  cardID[4];
  NFC_CardData_t cardData;
  NFC_Event_t    nfcEvent;
  uint32_t       lastUID        = 0;
  uint32_t       lastNotifyTick = 0;
  int            cardPresent    = 0;
  int            missCount      = 0;
  uint32_t       dispEvent;

  #define CARD_MISS_THRESHOLD    2     /* 锟斤拷锟斤拷 2 锟斤拷未锟斤拷獾? 锟斤拷 锟斤拷锟诫卡 (2锟斤拷200ms=400ms) */
  #define CARD_SCAN_INTERVAL_MS  200   /* 寻锟斤拷锟斤拷锟? */
  #define CARD_DEDUP_TIMEOUT_MS  3000  /* 锟斤拷锟截革拷锟斤拷时, 锟斤拷 OLED 锟斤拷锟揭? 3s 同锟斤拷 */
  #define CARD_STABLE_DELAY_MS   300   /* 锟斤拷獾斤拷锟斤拷锟斤拷榷锟斤拷映锟?, 确锟斤拷锟斤拷片锟斤拷全锟斤拷锟斤拷锟斤拷频锟斤拷 */

  /* Infinite loop */
  for (;;)
  {
    /* 时锟斤拷同锟斤拷锟节硷拷锟斤拷停刷锟斤拷 */
    if (DISP_IsTimeSyncBusy()) {
      osDelay(CARD_SCAN_INTERVAL_MS);
      continue;
    }

    /* ===== 锟叫匡拷: 锟饺达拷锟斤拷位锟斤拷锟斤拷锟斤拷 + 锟斤拷锟斤拷锟皆硷拷锟斤拷肟? (锟斤拷锟斤拷锟斤拷) ===== */
    if (cardPresent) {
      /* 锟斤拷位锟斤拷锟角凤拷锟斤拷锟斤拷锟揭伙拷锟斤拷锟斤拷锟? (锟斤拷锟斤拷/锟斤拷锟斤拷/锟斤拷锟斤拷)? */
      if (NFC_IsCmdDone()) {
        NFC_ClearCmdDone();

        /* 锟斤拷锟斤拷欠锟斤拷锟揭?全锟斤拷锟截讹拷 (UPDATEIMG 锟斤拷位图锟窖憋拷) */
        if (NFC_IsFullRereadNeeded()) {
          NFC_ClearFullReread();

          /* 全锟斤拷锟截讹拷: 锟斤拷图锟斤拷锟斤拷锟斤拷, 刷锟斤拷位图锟斤拷锟斤拷 */
          if (!NFC_IsReaderLocked()) {
            while (!NFC_LockReader()) { osDelay(10); }
            nfcEvent = NFC_ReadCard(cardID, &cardData);
            NFC_UnlockReader();

            if (nfcEvent != NFC_EVT_INVALID) {
              /* 位图锟斤拷刷锟斤拷, 通知 GUI 锟斤拷锟斤拷锟斤拷示 */
              DISP_SendNfcEvent(myQueue04Handle,  DISP_EVT_CARD_VALID, cardID, 4,
                                   cardData.cardId, cardData.sid, cardData.points,
                                   cardData.cardType, cardData.statusFlag,
                                   cardData.swipeDT.hour,
                                   cardData.swipeDT.minute,
                                   cardData.swipeDT.second,
                                   0, 0, 0);
            }
            /* 锟矫筹拷 CPU 锟斤拷 guiTask 刷锟斤拷 OLED */
            osDelay(50);
            NFC_Recover();
          }
        } else {
          /* 锟斤拷锟斤拷锟截讹拷: 锟斤拷锟斤拷 Block1 锟剿伙拷头 (位图未锟斤拷) */
          if (!NFC_IsReaderLocked()) {
            while (!NFC_LockReader()) { osDelay(10); }
            nfcEvent = NFC_ReadCardHeader(cardID, &cardData);
            NFC_UnlockReader();

            if (nfcEvent != NFC_EVT_INVALID) {
              /* 通知 GUI 锟斤拷示写锟斤拷锟斤拷锟? */
              DISP_SendNfcEvent(myQueue04Handle,  DISP_EVT_CARD_VALID, cardID, 4,
                                   cardData.cardId, cardData.sid, cardData.points,
                                   cardData.cardType, cardData.statusFlag,
                                   cardData.swipeDT.hour,
                                   cardData.swipeDT.minute,
                                   cardData.swipeDT.second,
                                   0, 0, 0);
            }
            osDelay(50);
          }
        }
        /* 锟窖达拷锟斤拷锟斤拷 CmdDone, 锟斤拷锟斤拷锟斤拷锟斤拷锟斤拷锟斤拷锟斤拷寻锟斤拷, 锟斤拷 GUI 锟斤拷时锟斤拷锟斤拷染 */
        osDelay(50);
        continue;
      }

      /* 锟斤拷锟斤拷锟皆硷拷饪?锟角凤拷锟斤拷 (锟斤拷锟斤拷锟斤拷: 锟斤拷锟斤拷 3 锟斤拷失锟杰诧拷锟斤拷锟诫卡) */
      if (NFC_IsReaderLocked()) {
        osDelay(CARD_SCAN_INTERVAL_MS);
        continue;  /* uartTask 锟斤拷锟节诧拷锟斤拷, 锟斤拷锟斤拷锟斤拷锟矫诧拷 */
      }
      if (!NFC_LockReader()) {
        osDelay(100);
        continue;
      }
      RC522_Halt();
      osDelay(2);
      {
        char st = NFC_ScanCard(cardID);
        if (st == RC522_OK) {
          RC522_Halt();
          missCount = 0;
        } else {
          missCount++;
        }
        NFC_UnlockReader();
        if (missCount >= 3) {
          cardPresent = 0;
          missCount   = 0;
          lastUID     = 0;
          LED_SetLeds(0x00);
        }
      }
      osDelay(200);
      continue;
    }

    /* ===== 锟睫匡拷: 锟斤拷锟斤拷寻锟斤拷 ===== */
    {
      char status;
      /* 锟斤拷锟斤拷锟轿伙拷锟斤拷锟斤拷诓锟斤拷锟?, 直锟斤拷锟斤拷锟斤拷锟斤拷锟斤拷锟斤拷 */
      if (NFC_IsReaderLocked()) {
        osDelay(CARD_SCAN_INTERVAL_MS);
        continue;
      }
      /* 锟斤拷锟斤拷锟斤拷锟斤拷锟斤拷锟斤拷锟斤拷, 锟斤拷锟斤拷位锟斤拷占锟斤拷锟斤拷锟斤拷锟斤拷锟斤拷锟斤拷锟斤拷 */
      if (!NFC_LockReader()) {
        osDelay(CARD_SCAN_INTERVAL_MS);
        continue;
      }
      status = NFC_ScanCard(cardID);
      NFC_UnlockReader();  /* 寻锟斤拷锟斤拷锟斤拷锟斤拷锟斤拷头锟斤拷锟? */
      if (status != RC522_OK) {
        osDelay(CARD_SCAN_INTERVAL_MS);
        continue;
      }
    }

    /* 锟斤拷锟斤拷獾?: 锟斤拷锟斤拷欠锟轿?锟秸达拷锟斤拷锟斤拷锟酵?一锟脚匡拷 (锟斤拷位锟斤拷锟斤拷锟斤拷锟斤拷锟斤拷锟斤拷) */
    {
      uint32_t uid32 = ((uint32_t)cardID[0] << 24) |
                       ((uint32_t)cardID[1] << 16) |
                       ((uint32_t)cardID[2] << 8)  |
                        (uint32_t)cardID[3];
      if (uid32 == lastUID && lastUID != 0) {
        /* 同一锟脚匡拷锟斤拷锟斤拷, 锟斤拷锟斤拷头(锟斤拷刷锟斤拷位图, 锟斤拷锟解覆锟斤拷 GUI 锟斤拷锟斤拷锟斤拷示锟斤拷图锟斤拷) */
        cardPresent = 1;
        missCount   = 0;
        LED_On(0);

        /* 锟饺讹拷锟接迟诧拷锟斤拷锟斤拷; while 循锟斤拷锟皆讹拷锟饺达拷锟斤拷位锟斤拷锟酵凤拷锟斤拷 */
        osDelay(CARD_STABLE_DELAY_MS);
        while (!NFC_LockReader()) { osDelay(10); }
        nfcEvent = NFC_ReadCardHeader(cardID, &cardData);
        NFC_UnlockReader();

        if (nfcEvent != NFC_EVT_INVALID) {
          DISP_SendNfcEvent(myQueue04Handle, DISP_EVT_CARD_VALID, cardID, 4,
                               cardData.cardId, cardData.sid, cardData.points,
                               cardData.cardType, cardData.statusFlag,
                               cardData.swipeDT.hour,
                               cardData.swipeDT.minute,
                               cardData.swipeDT.second,
                               0, 0, 0);
        }
        lastNotifyTick = osKernelGetTickCount();
        osDelay(200);
        continue;
      }
    }

    /* 锟铰匡拷锟阶达拷刷锟斤拷: 锟斤拷锟斤拷锟斤拷锟斤拷 */
    cardPresent = 1;
    missCount   = 0;
    LED_On(0);

    /* ===== 去锟斤拷: 同一锟脚匡拷锟节斤拷锟揭筹拷锟绞撅拷诩锟? (3s) 锟节诧拷锟截革拷锟斤拷锟斤拷 ===== */
    {
      uint32_t uid32 = ((uint32_t)cardID[0] << 24) |
                       ((uint32_t)cardID[1] << 16) |
                       ((uint32_t)cardID[2] << 8)  |
                        (uint32_t)cardID[3];
      if (uid32 == lastUID && lastUID != 0) {
        uint32_t elapsed = osKernelGetTickCount() - lastNotifyTick;
        if (elapsed < CARD_DEDUP_TIMEOUT_MS) {
          /* 3s 锟斤拷同一锟脚匡拷: 锟截革拷刷锟斤拷 (锟斤拷 WaitCardOff 锟斤拷锟斤拷) */
          MIDI_Beep(1, 50);
          DISP_SendNfcEvent(myQueue04Handle, DISP_EVT_CARD_DUP, cardID, 4,
                               0, 0, 0, 0, 0, 0, 0, 0, 1, 1, 0);
          while (!NFC_LockReader()) { osDelay(50); }
          NFC_WaitCardOff();
          NFC_UnlockReader();
          cardPresent = 0;
          LED_SetLeds(0x00);
          osDelay(200);
          continue;
        }
        /* 锟斤拷时, 锟斤拷锟斤拷锟劫达拷刷锟斤拷, 锟斤拷锟斤拷锟斤拷锟斤拷锟斤拷锟斤拷 */
      }
      lastUID = uid32;
    }

    /* 寻锟斤拷锟斤拷: 锟较革拷锟斤拷锟斤拷锟斤拷 */
    MIDI_Beep(6, 50);

    /* 锟饺达拷锟斤拷片锟斤拷锟斤拷频锟斤拷锟斤拷锟饺讹拷 (锟斤拷锟斤拷锟斤拷锟?) */
    osDelay(CARD_STABLE_DELAY_MS);

    /* 锟斤拷锟铰硷拷锟斤拷锟斤拷取锟斤拷锟斤拷 (锟斤拷锟斤拷位锟斤拷占锟斤拷锟斤拷 while 锟皆讹拷锟饺达拷) */
    while (!NFC_LockReader()) { osDelay(50); }

    /* ===== 锟斤拷锟斤拷: 锟斤拷取锟斤拷锟斤拷锟斤拷 =====
     * GUI 锟斤拷锟斤拷锟斤拷示锟斤拷锟绞憋拷锟斤拷锟酵?, 锟斤拷锟解覆锟斤拷位图锟斤拷锟铰伙拷锟斤拷/锟斤拷锟斤拷 */
    if (DISP_GetState() == DISP_STATE_RESULT) {
      nfcEvent = NFC_ReadCardHeader(cardID, &cardData);
    } else {
      nfcEvent = NFC_ReadCard(cardID, &cardData);
    }

    /* 锟斤拷锟斤拷锟斤拷锟?, 锟酵凤拷 RC522 锟斤拷 */
    NFC_UnlockReader();

    {
      uint8_t  evtType   = 0;
      uint8_t  recStatus = 0;
      uint32_t durSec    = 0;
      uint32_t uidNfc    = ((uint32_t)cardID[0] << 24) | ((uint32_t)cardID[1] << 16) |
                            ((uint32_t)cardID[2] << 8)  |  (uint32_t)cardID[3];

    /* ===== 锟斤拷锟斤拷: LED + 锟斤拷锟斤拷 + 锟铰硷拷锟斤拷锟斤拷 ===== */
    switch (nfcEvent) {
    case NFC_EVT_ADMIN:
      /* 锟斤拷锟斤拷员锟斤拷: L1+L3 锟斤拷, 锟较革拷锟斤拷锟斤拷锟斤拷, 锟斤拷锟斤拷锟斤拷锟斤拷锟叫讹拷 */
      dispEvent = DISP_EVT_CARD_ADMIN;
      LED_On(2);
      MIDI_Beep(6, 150);
      break;

    case NFC_EVT_VALID:
    {
      /* ===== 锟斤拷锟斤拷锟斤拷锟斤拷锟?: 锟斤拷失锟斤拷锟杰撅拷 ===== */
      if (Blacklist_IsBlocked(uidNfc)) {
        printf("[BL] BLOCKED UID=%08lX, count=%u\r\n",
               (unsigned long)uidNfc, (unsigned)Blacklist_GetCount());
        dispEvent = DISP_EVT_CARD_INVALID;
        cardData.statusFlag = 0xFF;  /* 锟斤拷锟轿?锟斤拷失, OLED 锟斤拷示"锟窖癸拷失" */
        MIDI_Beep(3, 100);
        osDelay(100);
        MIDI_Beep(3, 100);
        /* 锟较憋拷锟斤拷失锟斤拷锟斤拷录 */
        printf("REC:UID=%08lX|SID=%lu|LOST\r\n",
               (unsigned long)uidNfc, (unsigned long)cardData.sid);
        /* 写一锟斤拷 LOST 锟斤拷录锟斤拷 Flash */
        {
          SwipeRecord_t rec;
          BSP_RTC_DateTime_t nowDT;
          BSP_RTC_GetDateTime(&nowDT);
          memset(&rec, 0, sizeof(rec));
          rec.deviceId   = DISP_GetAdminCfg()->deviceId;
          rec.uid        = uidNfc;
          rec.sid        = cardData.sid;
          rec.year       = nowDT.year % 100;
          rec.month      = nowDT.month;
          rec.day        = nowDT.day;
          rec.hour       = nowDT.hour;
          rec.minute     = nowDT.minute;
          rec.second     = nowDT.second;
          rec.eventType  = 1;
          rec.status     = 4;  /* 4 = LOST */
          rec.cardType   = cardData.cardType;
          rec.timeOffset = (uint16_t)DISP_GetTimeOffset();
          Record_Add(&rec);
        }
        break;
      }

      /* ===== 锟斤拷锟斤拷员模式锟铰拒撅拷锟斤拷通锟斤拷 ===== */
      if (DISP_GetState() == DISP_STATE_ADMIN_SET) {
        /* 锟斤拷锟斤拷锟斤拷锟斤拷锟斤拷示锟杰撅拷, 锟斤拷写锟斤拷录, 锟斤拷锟斤拷LED, 锟斤拷通知GUI */
        dispEvent = DISP_EVT_NONE;
        MIDI_Beep(3, 60);
        osDelay(60);
        MIDI_Beep(3, 60);
        break;
      }

      /* ===== 锟斤拷锟斤拷锟叫讹拷 ===== */
      const DispAdminCfg_t *pCfg = DISP_GetAdminCfg();
      uint8_t  mode      = pCfg->attendMode;
      uint8_t  ledMask   = 0;

      /* 锟斤拷询锟斤拷锟斤拷 (锟斤拷锟斤拷锟斤拷 UID) */
      uint32_t enterSecs = 0;
      uint8_t cacheState = Cache_Find(uidNfc, &enterSecs);

      /* 锟斤拷锟斤拷未锟斤拷锟斤拷锟斤拷扫 Flash */
      if (cacheState == CACHE_MISS) {
        SwipeRecord_t lastRec;
        if (Record_QueryLast(uidNfc, &lastRec)) {
          cacheState = lastRec.eventType;  /* 0=锟诫场 1=锟诫场 */
          if (cacheState == 0) {
            /* 锟接硷拷录锟截斤拷 enterSecs: 锟斤拷刷锟斤拷时锟教癸拷锟斤拷 (锟诫级锟斤拷锟饺可斤拷锟斤拷) */
            BSP_RTC_DateTime_t dt;
            dt.year = 2000 + lastRec.year;
            dt.month = lastRec.month; dt.day = lastRec.day;
            dt.hour = lastRec.hour; dt.minute = lastRec.minute; dt.second = lastRec.second;
            enterSecs = DISP_DateTimeToSeconds(&dt);
          }
        }
      }

      /* 锟斤拷模式锟叫讹拷 */
      switch (mode) {
      case 0: /* 锟斤拷锟侥Ｊ? */
        if (cacheState == 0) {
          /* 锟斤拷锟诫场 锟斤拷 锟斤拷效锟截革拷 */
          evtType = 1; recStatus = 1;
        } else {
          /* 锟诫场 */
          evtType = 0; recStatus = 0; ledMask = 0x08;  /* L4 */
        }
        break;

      case 1: /* 锟斤拷锟斤拷模式 */
        if (cacheState == 0) {
          /* 锟斤拷锟诫场 锟斤拷 锟诫场 + 锟斤拷时锟斤拷 (RTC 锟斤拷锟届安全) */
          evtType = 1; recStatus = 0; ledMask = 0x10;  /* L5 */
          /* 锟斤拷 RTC 锟斤拷前时锟斤拷锟斤拷锟绞憋拷锟?, 锟斤拷然支锟街匡拷锟斤拷 */
          {
            BSP_RTC_DateTime_t nowDT;
            BSP_RTC_GetDateTime(&nowDT);
            uint32_t nowSecs = DISP_DateTimeToSeconds(&nowDT);
            durSec = (nowSecs > enterSecs) ? (nowSecs - enterSecs) : 0;
          }
        } else {
          /* 锟斤拷锟诫场锟斤拷录 */
          evtType = 1; recStatus = 2;
        }
        break;

      case 2: /* 锟斤拷锟斤拷锟侥Ｊ? */
      default:
        if (cacheState == 0) {
          /* 锟斤拷锟诫场 锟斤拷 锟诫场 + 锟斤拷时锟斤拷 (RTC 锟斤拷锟届安全) */
          evtType = 1; recStatus = 0; ledMask = 0x40;  /* L7 */
          {
            BSP_RTC_DateTime_t nowDT;
            BSP_RTC_GetDateTime(&nowDT);
            uint32_t nowSecs = DISP_DateTimeToSeconds(&nowDT);
            durSec = (nowSecs > enterSecs) ? (nowSecs - enterSecs) : 0;
          }
        } else {
          /* 锟诫场 */
          evtType = 0; recStatus = 0; ledMask = 0x20;  /* L6 */
        }
        break;
      }

      /* 锟斤拷锟铰伙拷锟斤拷 (锟诫场时锟斤拷录 RTC 锟斤拷时锟斤拷锟?) */
      if (recStatus == 0) {
        uint32_t secs = 0;
        if (evtType == 0) {
          /* 锟诫场: 锟斤拷录锟斤拷前 RTC 锟斤拷时锟斤拷锟斤拷锟斤拷锟斤拷锟?, 锟斤拷锟诫场时锟斤拷锟斤拷锟斤拷锟绞憋拷锟? */
          BSP_RTC_DateTime_t nowDT;
          BSP_RTC_GetDateTime(&nowDT);
          secs = DISP_DateTimeToSeconds(&nowDT);
        }
        Cache_Update(uidNfc, evtType, secs);
      }

      /* 写 SPI Flash 锟斤拷录 */
      {
        SwipeRecord_t rec;
        BSP_RTC_DateTime_t nowDT;
        BSP_RTC_GetDateTime(&nowDT);
        memset(&rec, 0, sizeof(rec));
        rec.deviceId   = pCfg->deviceId;
        rec.uid        = uidNfc;
        rec.sid        = cardData.sid;
        rec.year       = nowDT.year % 100;
        rec.month      = nowDT.month;
        rec.day        = nowDT.day;
        rec.hour       = nowDT.hour;
        rec.minute     = nowDT.minute;
        rec.second     = nowDT.second;
        rec.eventType  = evtType;
        rec.status     = recStatus;
        rec.cardType   = cardData.cardType;
        rec.durationSec = durSec;
        rec.timeOffset = (uint16_t)DISP_GetTimeOffset();
        Record_Add(&rec);
      }

      /* LED + 锟斤拷锟斤拷 */
      if (recStatus == 0) {
        LED_SetLeds(ledMask | 0x01);
        MIDI_Beep(6, 100);
        dispEvent = DISP_EVT_CARD_VALID;
      } else if (recStatus == 1) {
        dispEvent = DISP_EVT_CARD_DUP;
        MIDI_Beep(3, 80);
      } else {
        dispEvent = DISP_EVT_CARD_VALID;
        MIDI_Beep(3, 80);
        osDelay(80);
        MIDI_Beep(3, 80);
      }
      break;
    }

    case NFC_EVT_INVALID:
    default:
      /* 锟斤拷效锟斤拷: 锟斤拷锟斤拷硬锟斤拷锟街革拷 RC522, 锟斤拷止芯片状态锟斤拷锟斤拷影锟斤拷锟斤拷锟窖帮拷锟? */
      NFC_Recover();
      dispEvent = DISP_EVT_CARD_INVALID;
      MIDI_Beep(3, 100);
      osDelay(100);
      MIDI_Beep(3, 100);
      {
        SwipeRecord_t rec;
        BSP_RTC_DateTime_t nowDT;
        BSP_RTC_GetDateTime(&nowDT);
        memset(&rec, 0, sizeof(rec));
        rec.deviceId   = DISP_GetAdminCfg()->deviceId;
        rec.uid        = uidNfc;
        rec.sid        = 0;
        rec.year       = nowDT.year % 100;
        rec.month      = nowDT.month;
        rec.day        = nowDT.day;
        rec.hour       = nowDT.hour;
        rec.minute     = nowDT.minute;
        rec.second     = nowDT.second;
        rec.eventType  = 1;
        rec.status     = 3;
        rec.cardType   = 0;
        rec.timeOffset = (uint16_t)DISP_GetTimeOffset();
        Record_Add(&rec);
      }
      break;
    }

    /* ===== 通知 GUI ===== */
    DISP_SendNfcEvent(myQueue04Handle, dispEvent, cardID, 4,
                         cardData.cardId, cardData.sid, cardData.points,
                         cardData.cardType, cardData.statusFlag,
                         cardData.swipeDT.hour,
                         cardData.swipeDT.minute,
                         cardData.swipeDT.second,
                         evtType, recStatus, durSec);
    }
    lastNotifyTick = osKernelGetTickCount();
    NFC_ClearCmdDone();
    /* 锟矫筹拷 CPU 锟斤拷 guiTask 刷锟斤拷 OLED */
    osDelay(50);
    /* cardPresent=1, 锟截碉拷循锟斤拷锟斤拷锟斤拷: 锟饺达拷锟斤拷位锟斤拷锟斤拷锟斤拷 + 锟斤拷锟斤拷锟斤拷锟诫卡锟斤拷锟? */
  }
  /* USER CODE END StartTaskNFC */
}

/* USER CODE BEGIN Application */

/**
 * @brief  USART1 锟斤拷锟秸回碉拷锟斤拷锟斤拷 (锟叫讹拷锟斤拷锟斤拷锟斤拷, 锟斤拷锟斤拷锟劫匡拷锟斤拷锟斤拷双锟斤拷锟斤拷锟斤拷)
 */
static void UART1_RxCallback(UartDrv_RxData_t *pData, void *pUserCtx)
{
  (void)pUserCtx;

  if (!pData || pData->rx_len == 0) return;

  /* 锟桔硷拷写锟斤拷双锟斤拷锟斤拷锟斤拷, 锟斤拷锟绞憋拷锟斤拷锟斤拷锟斤拷锟斤拷锟斤拷锟斤拷驴锟绞? */
  if (s_uart1_rx_len + pData->rx_len <= sizeof(s_uart1_rx_buf)) {
    memcpy(s_uart1_rx_buf + s_uart1_rx_len, pData->rx_buf, pData->rx_len);
    s_uart1_rx_len += pData->rx_len;
  } else {
    s_uart1_rx_len = 0;
    memcpy(s_uart1_rx_buf, pData->rx_buf, pData->rx_len);
    s_uart1_rx_len = pData->rx_len;
  }

  s_uart1_data_ready = 1;
}

/* USER CODE END Application */
